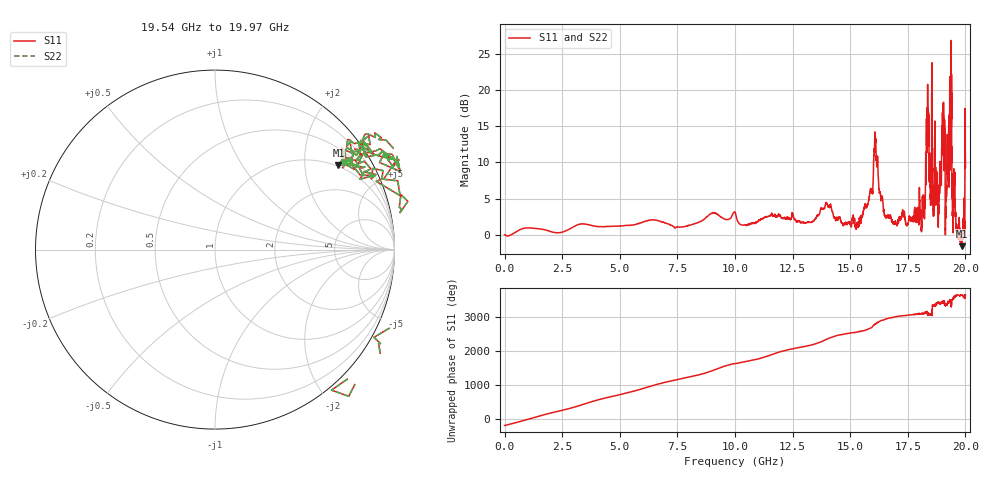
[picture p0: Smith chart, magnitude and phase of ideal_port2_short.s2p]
! Created with skrf (http://scikit-rf.org).
# GHz S RI R 50.0
!freq ReS11 ImS11 ReS21 ImS21 ReS12 ImS12 ReS22 ImS22
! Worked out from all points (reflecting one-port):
!   10001 points, 1 MHz to 20 GHz, reference 50 ohm
!   lowest |S11| = -1.6 dB at 19.84 GHz (marker M1), VSWR 11.02, Z = 47.7 + j147 ohm
!   phase of S11 starts at -180 deg and turns +3823 deg over the sweep
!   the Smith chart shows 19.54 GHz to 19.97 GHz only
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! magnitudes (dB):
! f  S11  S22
! 1 MHz  0.0  0.0
! 3.335 GHz  1.5  1.5
! 6.669 GHz  1.9  1.9
! 10 GHz  3.1  3.1
! 13.33 GHz  1.7  1.7
! 14.02 GHz  4.1  4.1
! 15.3 GHz  1.6  1.6
! 15.89 GHz  6.4  6.4
! 16.11 GHz  13.1  13.1
! 16.35 GHz  5.0  5.0
! 16.67 GHz  2.6  2.6
! 18.15 GHz  4.8  4.8
! 18.37 GHz  14.8  14.8
! 18.55 GHz  15.2  15.2
! 18.79 GHz  5.0  5.0
! 19.02 GHz  11.4  11.4
! 19.21 GHz  11.7  11.7
! 19.31 GHz  10.5  10.5
! 19.44 GHz  2.6  2.6
! 19.53 GHz  7.9  7.9
! 19.84 GHz  -1.6  -1.6
! 20 GHz  10.4  10.4
